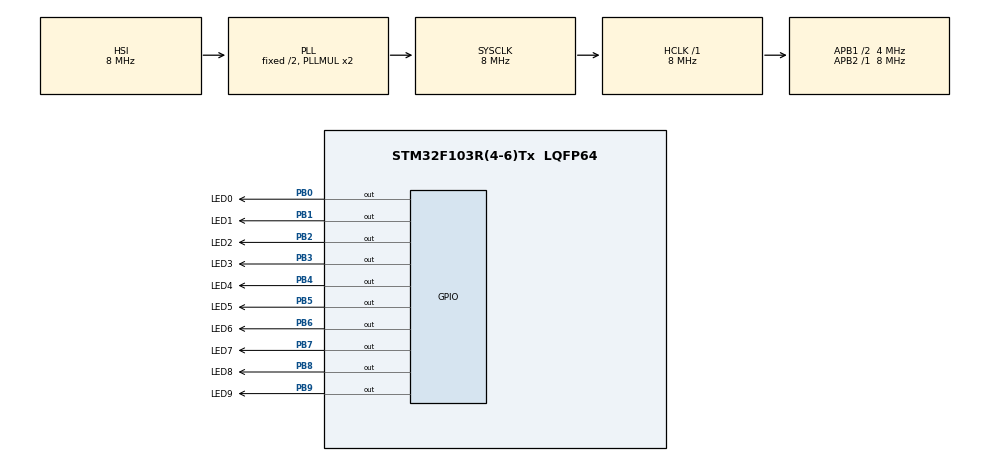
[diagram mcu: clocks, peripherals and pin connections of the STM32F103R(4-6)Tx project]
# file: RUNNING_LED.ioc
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Mcu.Family=STM32F1
Mcu.Name=STM32F103R(4-6)Tx
Mcu.Package=LQFP64
NVIC.PriorityGroup=NVIC_PRIORITYGROUP_4
PB0.GPIO_Label=LED0
PB0.GPIO_PuPd=GPIO_PULLUP
PB0.GPIO_Speed=GPIO_SPEED_FREQ_HIGH
PB0.PinState=GPIO_PIN_SET
PB0.Signal=GPIO_Output
PB1.GPIO_Label=LED1
PB1.GPIO_PuPd=GPIO_PULLUP
PB1.GPIO_Speed=GPIO_SPEED_FREQ_HIGH
PB1.PinState=GPIO_PIN_SET
PB1.Signal=GPIO_Output
PB2.GPIO_Label=LED2
PB2.GPIO_PuPd=GPIO_PULLUP
PB2.GPIO_Speed=GPIO_SPEED_FREQ_HIGH
PB2.PinState=GPIO_PIN_SET
PB2.Signal=GPIO_Output
PB3.GPIO_Label=LED3
PB3.GPIO_ModeDefaultOutputPP=GPIO_MODE_OUTPUT_PP
PB3.GPIO_PuPd=GPIO_PULLUP
PB3.GPIO_Speed=GPIO_SPEED_FREQ_HIGH
PB3.PinState=GPIO_PIN_SET
PB3.Signal=GPIO_Output
PB4.GPIO_Label=LED4
PB4.GPIO_PuPd=GPIO_PULLUP
PB4.GPIO_Speed=GPIO_SPEED_FREQ_HIGH
PB4.PinState=GPIO_PIN_SET
PB4.Signal=GPIO_Output
PB5.GPIO_Label=LED5
PB5.GPIO_PuPd=GPIO_PULLUP
PB5.GPIO_Speed=GPIO_SPEED_FREQ_HIGH
PB5.PinState=GPIO_PIN_SET
PB5.Signal=GPIO_Output
PB6.GPIO_Label=LED6
PB6.GPIO_ModeDefaultOutputPP=GPIO_MODE_OUTPUT_PP
PB6.GPIO_PuPd=GPIO_PULLUP
PB6.GPIO_Speed=GPIO_SPEED_FREQ_HIGH
PB6.PinState=GPIO_PIN_SET
PB6.Signal=GPIO_Output
PB7.GPIO_Label=LED7
PB7.GPIO_ModeDefaultOutputPP=GPIO_MODE_OUTPUT_PP
PB7.GPIO_PuPd=GPIO_PULLUP
PB7.GPIO_Speed=GPIO_SPEED_FREQ_HIGH
PB7.PinState=GPIO_PIN_SET
PB7.Signal=GPIO_Output
PB8.GPIO_Label=LED8
PB8.GPIO_PuPd=GPIO_PULLUP
PB8.GPIO_Speed=GPIO_SPEED_FREQ_HIGH
PB8.PinState=GPIO_PIN_SET
PB8.Signal=GPIO_Output
PB9.GPIO_Label=LED9
PB9.GPIO_ModeDefaultOutputPP=GPIO_MODE_OUTPUT_PP
PB9.GPIO_PuPd=GPIO_PULLUP
PB9.GPIO_Speed=GPIO_SPEED_FREQ_HIGH
PB9.PinState=GPIO_PIN_SET
PB9.Signal=GPIO_Output
PD0-OSC_IN.Mode=HSE-External-Oscillator
PD0-OSC_IN.Signal=RCC_OSC_IN
PD1-OSC_OUT.Mode=HSE-External-Oscillator
PD1-OSC_OUT.Signal=RCC_OSC_OUT
ProjectManager.HeapSize=0x200
ProjectManager.StackSize=0x400
ProjectManager.TargetToolchain=MDK-ARM V5
RCC.AHBFreq_Value=8000000
RCC.APB1CLKDivider=RCC_HCLK_DIV2
RCC.APB1Freq_Value=4000000
RCC.APB1TimFreq_Value=8000000
RCC.APB2Freq_Value=8000000
RCC.APB2TimFreq_Value=8000000
RCC.HCLKFreq_Value=8000000
RCC.SYSCLKFreq_VALUE=8000000
RCC.SYSCLKSource=RCC_SYSCLKSOURCE_PLLCLK
RCC.USBFreq_Value=8000000
VP_SYS_VS_ND.Mode=No_Debug
board=custom

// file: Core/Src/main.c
/* USER CODE BEGIN Header */
/**
  ******************************************************************************
  * @file           : main.c
  * @brief          : Main program body
  ******************************************************************************
  * @attention
  *
  * <h2><center>&copy; Copyright (c) 2020 STMicroelectronics.
  * All rights reserved.</center></h2>
  *
  * This software component is licensed by ST under BSD 3-Clause license,
  * the "License"; You may not use this file except in compliance with the
  * License. You may obtain a copy of the License at:
  *                        opensource.org/licenses/BSD-3-Clause
  *
  ******************************************************************************
  */
/* USER CODE END Header */

#include "main.h"

void SystemClock_Config(void);
static void MX_GPIO_Init(void);

int main(void)
{

  /* MCU Configuration--------------------------------------------------------*/

  /* Reset of all peripherals, Initializes the Flash interface and the Systick. */
  HAL_Init();

  /* Configure the system clock */
  SystemClock_Config();

  /* Initialize all configured peripherals */
  MX_GPIO_Init();

  /* Infinite loop */
  while (1)
  {

    /* USER CODE BEGIN 3 */
		int time_gap;
		for ( time_gap = 250; time_gap >= 10; time_gap -= 50)
		{
			HAL_GPIO_TogglePin(GPIOB, LED0_Pin);
			HAL_Delay(time_gap);
			HAL_GPIO_TogglePin(GPIOB, LED1_Pin);
			HAL_Delay(time_gap);
			HAL_GPIO_TogglePin(GPIOB, LED2_Pin);
			HAL_Delay(time_gap);
			HAL_GPIO_TogglePin(GPIOB, LED3_Pin);
			HAL_Delay(time_gap);
			HAL_GPIO_TogglePin(GPIOB, LED4_Pin);
			HAL_Delay(time_gap);
			HAL_GPIO_TogglePin(GPIOB, LED5_Pin);
			HAL_Delay(time_gap);
			HAL_GPIO_TogglePin(GPIOB, LED6_Pin);
			HAL_Delay(time_gap);
			HAL_GPIO_TogglePin(GPIOB, LED7_Pin);
			HAL_Delay(time_gap);
			HAL_GPIO_TogglePin(GPIOB, LED8_Pin);
			HAL_Delay(time_gap);
			HAL_GPIO_TogglePin(GPIOB, LED9_Pin);
			HAL_Delay(time_gap);    // Turn the LED into light

			HAL_GPIO_TogglePin(GPIOB, LED9_Pin);
			HAL_Delay(time_gap);
			HAL_GPIO_TogglePin(GPIOB, LED8_Pin);
			HAL_Delay(time_gap);
			HAL_GPIO_TogglePin(GPIOB, LED7_Pin);
			HAL_Delay(time_gap);
			HAL_GPIO_TogglePin(GPIOB, LED6_Pin);
			HAL_Delay(time_gap);
			HAL_GPIO_TogglePin(GPIOB, LED5_Pin);
			HAL_Delay(time_gap);
			HAL_GPIO_TogglePin(GPIOB, LED4_Pin);
			HAL_Delay(time_gap);
			HAL_GPIO_TogglePin(GPIOB, LED3_Pin);
			HAL_Delay(time_gap);
			HAL_GPIO_TogglePin(GPIOB, LED2_Pin);
			HAL_Delay(time_gap);
			HAL_GPIO_TogglePin(GPIOB, LED1_Pin);
			HAL_Delay(time_gap);
			HAL_GPIO_TogglePin(GPIOB, LED0_Pin);
			HAL_Delay(time_gap);    // Turn the LED into dark
		}
  }
  /* USER CODE END 3 */
}

void SystemClock_Config(void)
{
  RCC_OscInitTypeDef RCC_OscInitStruct = {0};
  RCC_ClkInitTypeDef RCC_ClkInitStruct = {0};

  /** Initializes the CPU, AHB and APB busses clocks
  */
  RCC_OscInitStruct.OscillatorType = RCC_OSCILLATORTYPE_HSI;
  RCC_OscInitStruct.HSIState = RCC_HSI_ON;
  RCC_OscInitStruct.HSICalibrationValue = RCC_HSICALIBRATION_DEFAULT;
  RCC_OscInitStruct.PLL.PLLState = RCC_PLL_ON;
  RCC_OscInitStruct.PLL.PLLSource = RCC_PLLSOURCE_HSI_DIV2;
  RCC_OscInitStruct.PLL.PLLMUL = RCC_PLL_MUL2;
  if (HAL_RCC_OscConfig(&RCC_OscInitStruct) != HAL_OK)
  {
    Error_Handler();
  }
  /** Initializes the CPU, AHB and APB busses clocks
  */
  RCC_ClkInitStruct.ClockType = RCC_CLOCKTYPE_HCLK|RCC_CLOCKTYPE_SYSCLK
                              |RCC_CLOCKTYPE_PCLK1|RCC_CLOCKTYPE_PCLK2;
  RCC_ClkInitStruct.SYSCLKSource = RCC_SYSCLKSOURCE_PLLCLK;
  RCC_ClkInitStruct.AHBCLKDivider = RCC_SYSCLK_DIV1;
  RCC_ClkInitStruct.APB1CLKDivider = RCC_HCLK_DIV2;
  RCC_ClkInitStruct.APB2CLKDivider = RCC_HCLK_DIV1;

  if (HAL_RCC_ClockConfig(&RCC_ClkInitStruct, FLASH_LATENCY_0) != HAL_OK)
  {
    Error_Handler();
  }
}

static void MX_GPIO_Init(void)
{
  GPIO_InitTypeDef GPIO_InitStruct = {0};

  /* GPIO Ports Clock Enable */
  __HAL_RCC_GPIOD_CLK_ENABLE();
  __HAL_RCC_GPIOB_CLK_ENABLE();

  /*Configure GPIO pin Output Level */
  HAL_GPIO_WritePin(GPIOB, LED0_Pin|LED1_Pin|LED2_Pin|LED3_Pin
                          |LED4_Pin|LED5_Pin|LED6_Pin|LED7_Pin
                          |LED8_Pin|LED9_Pin, GPIO_PIN_SET);

  /*Configure GPIO pins : LED0_Pin LED1_Pin LED2_Pin LED3_Pin
                           LED4_Pin LED5_Pin LED6_Pin LED7_Pin
                           LED8_Pin LED9_Pin */
  GPIO_InitStruct.Pin = LED0_Pin|LED1_Pin|LED2_Pin|LED3_Pin
                          |LED4_Pin|LED5_Pin|LED6_Pin|LED7_Pin
                          |LED8_Pin|LED9_Pin;
  GPIO_InitStruct.Mode = GPIO_MODE_OUTPUT_PP;
  GPIO_InitStruct.Pull = GPIO_PULLUP;
  GPIO_InitStruct.Speed = GPIO_SPEED_FREQ_HIGH;
  HAL_GPIO_Init(GPIOB, &GPIO_InitStruct);

}

void Error_Handler(void)
{
}

/************************ (C) COPYRIGHT STMicroelectronics *****END OF FILE****/
